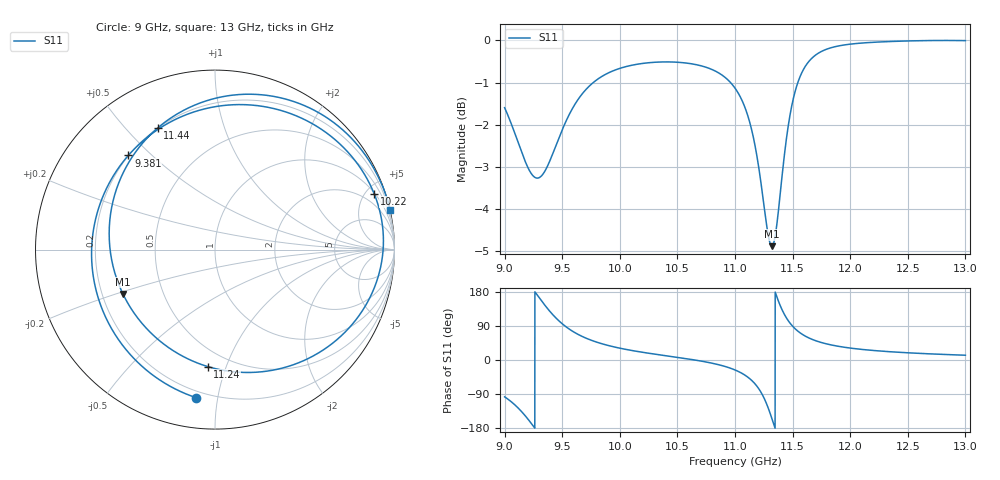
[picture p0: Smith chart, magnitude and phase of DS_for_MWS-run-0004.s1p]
! TOUCHSTONE file generated by CST DESIGN STUDIO
! Date and time: Tue Jan 28 13:35:06 2025
! Project name: C:\Work\MatlabApps\UnitCellOptimizationMatlabNew\CST\unitcell.cst
! Tree item: Tasks\Sweep1\SPara1\S-Parameters
! Header version: 2024
! Port assignment regex: !\s*Touchstone port\s*([0-9]+)\s*=\s*(CST MWS port|CST DES external port|CST DES block port)\s*(.+)\s* \(\"(.*)\"\)(\s*mode\s*([0-9]+))?.*
! Touchstone port assignment:
! Touchstone port 1 = CST DES external port 1 ("")
# GHz S MA R 50
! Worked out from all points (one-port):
!   4001 points, 9 GHz to 13 GHz, reference 50 ohm
!   lowest |S11| = -4.9 dB at 11.32 GHz (marker M1), VSWR 3.64, Z = 14.4 - j10.5 ohm
!   |S11| at or under -10 dB: nowhere
!   S11 on the Smith chart (normalised r, x): 9 GHz: 0.16, -0.87; 9.381 GHz: 0.20, +0.42; 10.22 GHz: 1.07, +5.70; 11.24 GHz: 0.38, -0.86; 11.44 GHz: 0.20, +0.62; 13 GHz: 0.02, +9.04
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9  0.832 -97.2
9.112  0.76 -125.0
9.224  0.6971 -164.3
9.299  0.6868 165.0
9.381  0.7132 132.6
9.5  0.7829 95.7
9.61  0.8395 72.2
9.72  0.8784 55.9
9.847  0.9067 42.6
10  0.9264 31.2
10.22  0.9399 19.3
10.5  0.9421 6.9
10.809  0.9225 -9.0
11  0.8777 -26.3
11.133  0.7945 -50.6
11.195  0.7222 -71.0
11.241  0.6528 -93.6
11.28  0.5962 -120.1
11.32  0.5694 -154.3
11.374  0.622 157.7
11.438  0.7487 115.3
11.5  0.8454 89.2
11.586  0.9191 67.4
11.687  0.9579 52.4
11.818  0.9788 40.9
12  0.99 31.5
12.5  0.9987 19.0
13  0.9996 12.6
